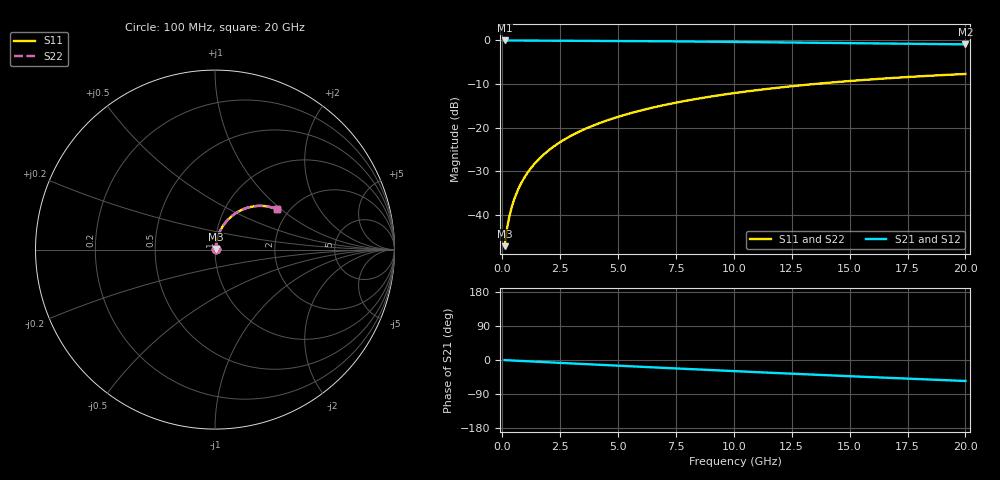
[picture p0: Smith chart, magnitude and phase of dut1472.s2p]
! Touchstone file exported from HFSS 2026.1.0
!  File:  C:/ffzhzh/LocalFiles/Ansys_Project_Files/temp_train_TMRDL_1472_1783167554_43440.aedt
!  Generated:  08:20:37 PM Jul  4, 2026
!  Design:  TMRDL
!  Project:  temp_train_TMRDL_1472_1783167554_43440
! Variables:
!  h_bsmrdl = 2um
!  h_ox = 20um
!  h_rdl = 5um
!  h_sub = 80um
!  h_tmrdl = 3.73um
!  h_tsv = 80um
!  h_via = 3um
!  l_bsmrdl = 300um
!  l_sub = 1271.64um
!  l_tmrdl = 871.64um
!  m_sub = 200um
!  pitch = 55.09um
!  r_tsv = 6um
!  s_tmrdl = 10um
!  w_bsmrdl = 18um
!  w_sub = 500um
!  w_tmrdl = 29.38um
!  x_tsv_center1 = 886.33um
!  x_tsv_center2 = 1204.33um
!  x_tsv_center3 = 2105.35um
!  x_tsv_center4 = 2423.35um
!  x_tsv_center5 = 3324.37um
!  x_tsv_center6 = 3642.37um
# GHz S MA R 50.000000
! Terminal data exported
! Port[1] = TM_RDL1_1_T1
! Port[2] = TM_RDL1_1_T2
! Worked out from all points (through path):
!   200 points, 100 MHz to 20 GHz, reference 50 ohm
!   highest |S21| = -0.03 dB at 100 MHz (marker M1); lowest = -0.9 dB at 20 GHz (marker M2)
!   group delay of S21, straight-line fit = 7.69 ps
!   lowest |S11| = -47.2 dB at 100 MHz (marker M3), VSWR 1.01, Z = 50.3 + j0.311 ohm
!   |S11| at or under -10 dB: start of sweep to 13.5 GHz
!   |S22| runs from -47.2 to -7.7 dB; largest |S21 - S12| = 4.7e-15
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0.1  0.00438 44.8  0.9969 -0.3  0.9969 -0.3  0.00438 44.8
! Gamma 0 0 0 0
! Port Impedance 50 0 50 0
0.2  0.006894 60.3  0.9966 -0.6  0.9966 -0.6  0.006893 60.3
0.3  0.009494 66.9  0.9964 -0.9  0.9964 -0.9  0.009494 66.9
0.4  0.01209 70.7  0.9962 -1.2  0.9962 -1.2  0.01209 70.7
0.5  0.0147 73.2  0.996 -1.6  0.996 -1.6  0.0147 73.2
0.6  0.01733 75.0  0.9959 -1.9  0.9959 -1.9  0.01732 75.0
0.8  0.02262 77.2  0.9957 -2.5  0.9957 -2.5  0.02262 77.2
1.1  0.03064 78.8  0.9953 -3.4  0.9953 -3.4  0.03064 78.8
1.5  0.0414 79.4  0.9948 -4.6  0.9948 -4.6  0.0414 79.4
1.8  0.04946 79.3  0.9943 -5.5  0.9943 -5.5  0.04946 79.3
2.1  0.0575 79.0  0.9937 -6.4  0.9937 -6.4  0.0575 79.0
2.7  0.0735 77.9  0.9923 -8.2  0.9923 -8.2  0.0735 77.9
3.5  0.09454 76.0  0.99 -10.6  0.99 -10.6  0.09454 76.1
4.2  0.1126 74.2  0.9876 -12.7  0.9876 -12.7  0.1126 74.3
5  0.1329 72.1  0.9845 -15.0  0.9845 -15.0  0.1329 72.1
5.9  0.1552 69.6  0.9806 -17.7  0.9806 -17.7  0.1552 69.7
6.8  0.1768 67.1  0.9763 -20.3  0.9763 -20.3  0.1768 67.2
8.3  0.2114 63.0  0.9686 -24.6  0.9686 -24.6  0.2114 63.1
10.1  0.2504 58.2  0.9584 -29.6  0.9584 -29.6  0.2504 58.2
13.4  0.3145 49.5  0.9385 -38.6  0.9385 -38.6  0.3145 49.6
16.7  0.3683 41.1  0.9183 -47.1  0.9183 -47.1  0.3683 41.2
20  0.4119 33.0  0.8995 -55.4  0.8995 -55.4  0.4119 33.2
